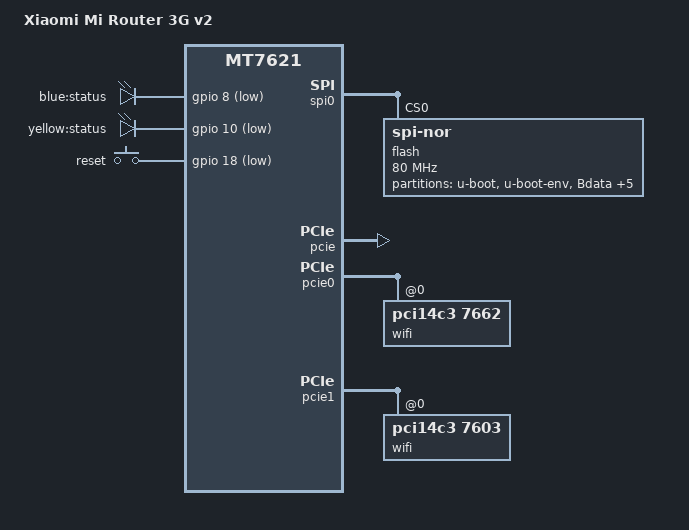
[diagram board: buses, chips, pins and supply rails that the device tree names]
// SPDX-License-Identifier: GPL-2.0-or-later OR MIT

#include "mt7621.dtsi"

#include <dt-bindings/gpio/gpio.h>
#include <dt-bindings/input/input.h>

/ {
	compatible = "xiaomi,mir3g-v2", "mediatek,mt7621-soc";
	model = "Xiaomi Mi Router 3G v2";

	aliases {
		led-boot = &led_status_yellow;
		led-failsafe = &led_status_yellow;
		led-running = &led_status_blue;
		led-upgrade = &led_status_yellow;
		label-mac-device = &wan;
	};

	chosen {
		bootargs = "console=ttyS0,115200n8";
	};

	leds {
		compatible = "gpio-leds";

		led_status_blue: status_blue {
			label = "blue:status";
			gpios = <&gpio 8 GPIO_ACTIVE_LOW>;
		};

		led_status_yellow: status_yellow {
			label = "yellow:status";
			gpios = <&gpio 10 GPIO_ACTIVE_LOW>;
		};
	};

	keys {
		compatible = "gpio-keys";

		reset {
			label = "reset";
			gpios = <&gpio 18 GPIO_ACTIVE_LOW>;
			linux,code = <KEY_RESTART>;
		};
	};
};

&spi0 {
	status = "okay";

	flash@0 {
		compatible = "jedec,spi-nor";
		reg = <0>;
		spi-max-frequency = <80000000>;

		partitions {
			compatible = "fixed-partitions";
			#address-cells = <1>;
			#size-cells = <1>;

			partition@0 {
				label = "u-boot";
				reg = <0x0 0x30000>;
				read-only;
			};

			partition@30000 {
				label = "u-boot-env";
				reg = <0x30000 0x10000>;
				read-only;
			};

			partition@40000 {
				label = "Bdata";
				reg = <0x40000 0x10000>;
				read-only;
			};

			factory: partition@50000 {
				label = "factory";
				reg = <0x50000 0x10000>;
				read-only;
			};

			partition@60000 {
				label = "crash";
				reg = <0x60000 0x10000>;
				read-only;
			};

			partition@70000 {
				label = "cfg_bak";
				reg = <0x70000 0x10000>;
				read-only;
			};

			partition@80000 {
				label = "overlay";
				reg = <0x80000 0x100000>;
				read-only;
			};

			firmware: partition@180000 {
				compatible = "denx,uimage";
				label = "firmware";
				reg = <0x180000 0xe80000>;
			};
		};
	};
};

&pcie {
	status = "okay";
};

&pcie0 {
	wifi@0,0 {
		compatible = "pci14c3,7662";
		reg = <0x0000 0 0 0 0>;
		mediatek,mtd-eeprom = <&factory 0x8000>;
		ieee80211-freq-limit = <5000000 6000000>;
	};
};

&pcie1 {
	wifi@0,0 {
		compatible = "pci14c3,7603";
		reg = <0x0000 0 0 0 0>;
		mediatek,mtd-eeprom = <&factory 0x0000>;
		ieee80211-freq-limit = <2400000 2500000>;
	};
};

&gmac0 {
	mtd-mac-address = <&factory 0xe000>;
};

&switch0 {
	ports {
		port@2 {
			status = "okay";
			label = "lan2";
		};

		port@3 {
			status = "okay";
			label = "lan1";
		};
		wan: port@4 {
			status = "okay";
			label = "wan";
			mtd-mac-address = <&factory 0xe006>;
		};
	};
};

&state_default {
	gpio {
		groups = "jtag", "uart2", "uart3", "wdt";
		function = "gpio";
	};
};
